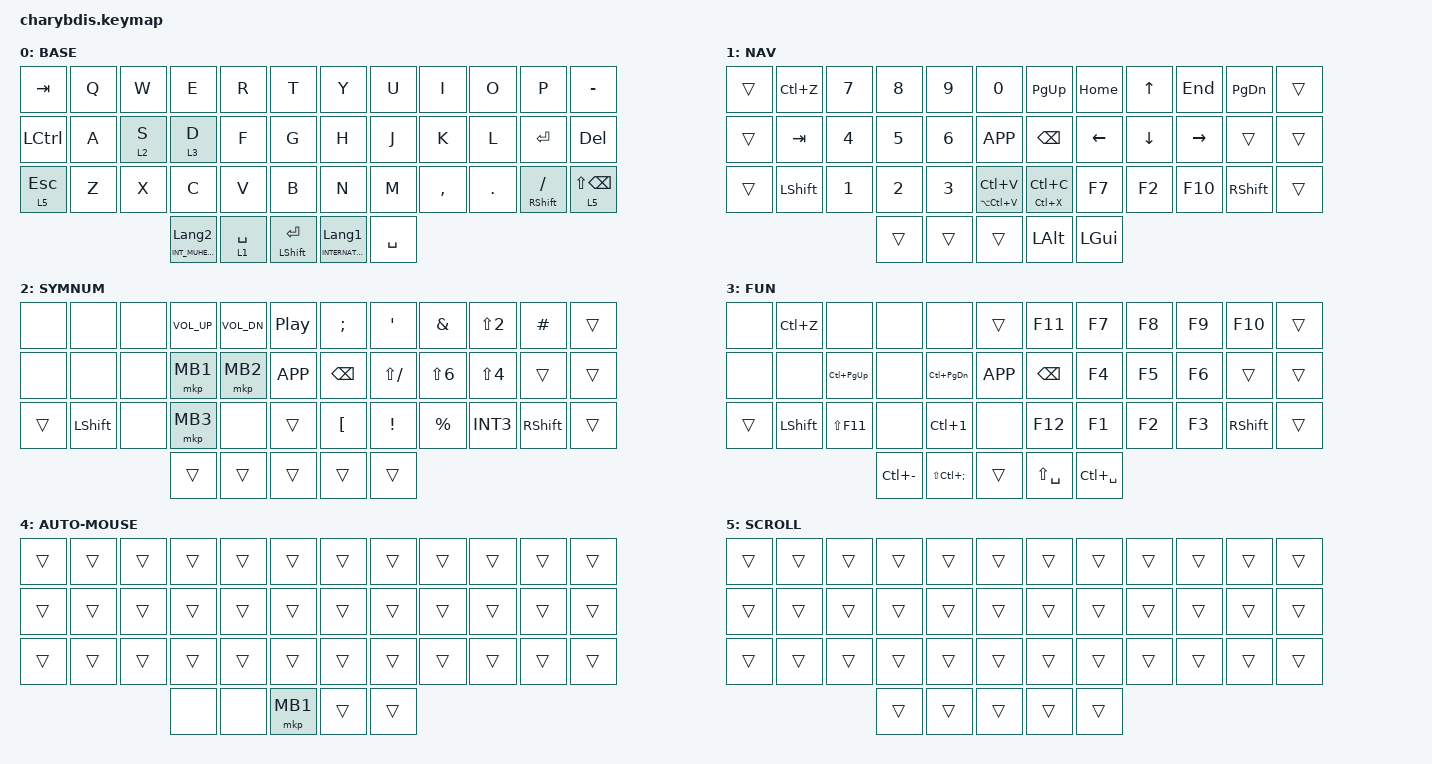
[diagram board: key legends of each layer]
#include <dt-bindings/zmk/mouse.h>
#include <input/processors.dtsi>
#include <dt-bindings/zmk/input_transform.h>
#include <behaviors.dtsi>
#include <dt-bindings/zmk/keys.h>
#include <dt-bindings/zmk/pointing.h>

#define U_TAPPING_TERM 200

/ {
    trackball_listener {
        compatible = "zmk,input-listener";
        device = <&trackball>;
        input-processors = <&zip_xy_scaler 1 2>, <&zip_temp_layer 4 10>;

        // Switch to auto-mouse temp layer, decrease sensitivity

        scroll {
            layers = <5>; // SCROLL
            input-processors =
                <&zip_xy_scaler 1 5>,
                <&zip_xy_to_scroll_mapper>,
                <&zip_scroll_transform (INPUT_TRANSFORM_Y_INVERT)>;
        };
    };

    combos {
        compatible = "zmk,combos";

        ParaLeft {
            bindings = <&kp LS(N8)>;
            key-positions = <16 14>;
        };

        ParaRight {
            bindings = <&kp LS(N9)>;
            key-positions = <19 21>;
        };

        BrakLeft {
            bindings = <&kp RBKT>;
            key-positions = <14 15 16>;
        };

        BrakRight {
            bindings = <&kp BSLH>;
            key-positions = <19 20 21>;
        };

        minus {
            bindings = <&kp MINUS>;
            key-positions = <19 20>;
        };

        underbar {
            bindings = <&kp LS(INT1)>;
            key-positions = <32 31>;
        };

        henkan {
            bindings = <&kp INTERNATIONAL_4>;
            key-positions = <38 39>;
        };

        space {
            bindings = <&kp LS(SPACE)>;
            key-positions = <37 40>;
        };

        lang2 {
            bindings = <&kp LANGUAGE_2>;
            key-positions = <40 19>;
        };

        lang1 {
            bindings = <&kp LANGUAGE_1>;
            key-positions = <40 31>;
        };

        plus {
            bindings = <&kp LS(SEMI)>;
            key-positions = <8 7>;
        };

        asta {
            bindings = <&kp LS(SQT)>;
            key-positions = <4 3>;
        };

        eq {
            bindings = <&kp LS(MINUS)>;
            key-positions = <4 3 2>;
        };

        q {
            bindings = <&kp LS(FSLH)>;
            key-positions = <20 21>;
        };

        leftctrl {
            bindings = <&kp LCTRL>;
            key-positions = <13 14>;
        };

        rightctrl {
            bindings = <&kp RCTRL>;
            key-positions = <21 22>;
        };

        leftclick {
            bindings = <&mkp MB1>;
            key-positions = <32 33>;
        };

        rightclick {
            bindings = <&mkp MB2>;
            key-positions = <33 34>;
        };

        leftshift {
            bindings = <&kp LSHFT>;
            key-positions = <25 26>;
        };
    };

    behaviors {
        u_mt: u_mt {
            compatible = "zmk,behavior-hold-tap";
            label = "u_mt";
            #binding-cells = <2>;
            tapping_term_ms = <U_TAPPING_TERM>;
            flavor = "tap-preferred";
            bindings = <&kp>, <&kp>;
        };

        u_lt: u_lt {
            compatible = "zmk,behavior-hold-tap";
            label = "u_lt";
            #binding-cells = <2>;
            tapping_term_ms = <U_TAPPING_TERM>;
            flavor = "tap-preferred";
            bindings = <&mo>, <&kp>;
        };

        Shift_Enter: Shift_Enter {
            compatible = "zmk,behavior-hold-tap";
            label = "SHIFT_ENTER";
            bindings = <&kp>, <&kp>;

            #binding-cells = <2>;
            hold-trigger-key-positions = <40>;
            tapping-term-ms = <100>;
        };
    };

    keymap {
        compatible = "zmk,keymap";

        BASE {
            bindings = <
&kp TAB       &kp Q  &kp W    &kp E                        &kp R        &kp T              &kp Y                           &kp U      &kp I      &kp O    &kp P            &kp MINUS
&kp LCTRL     &kp A  &lt 2 S  &lt 3 D                      &kp F        &kp G              &kp H                           &kp J      &kp K      &kp L    &kp ENTER        &kp DEL
&lt 5 ESCAPE  &kp Z  &kp X    &kp C                        &kp V        &kp B              &kp N                           &kp M      &kp COMMA  &kp DOT  &mt RSHIFT FSLH  &lt 5 LS(BACKSPACE)
                              &mt INT_MUHENKAN LANGUAGE_2  &lt 1 SPACE  &mt LSHFT ENTER    &mt INTERNATIONAL_4 LANGUAGE_1  &kp SPACE
            >;
        };

        NAV {
            bindings = <
&trans  &kp LC(Z)  &kp N7  &kp N8  &kp N9  &kp N0                 &kp PAGE_UP      &kp HOME        &kp UP_ARROW    &kp END          &kp PAGE_DOWN  &trans
&trans  &kp TAB    &kp N4  &kp N5  &kp N6  &kp K_APP              &kp BACKSPACE    &kp LEFT_ARROW  &kp DOWN_ARROW  &kp RIGHT_ARROW  &trans         &trans
&trans  &kp LSHFT  &kp N1  &kp N2  &kp N3  &mt LA(LC(V)) LC(V)    &mt LC(X) LC(C)  &kp F7          &kp F2          &kp F10          &kp RSHFT      &trans
                           &trans  &trans  &trans                 &kp LALT         &kp LGUI
            >;
        };

        SYMNUM {
            bindings = <
&none   &none      &none  &kp C_VOL_UP  &kp C_VOL_DN  &kp C_PP     &kp SEMI  &kp APOS      &kp AMPS    &kp LS(N2)  &kp HASH   &trans
&none   &none      &none  &mkp MB1      &mkp MB2      &kp K_APP    &kp BSPC  &kp LS(FSLH)  &kp LS(N6)  &kp LS(N4)  &trans     &trans
&trans  &kp LSHFT  &none  &mkp MB3      &none         &trans       &kp LBKT  &kp EXCL      &kp PRCNT   &kp INT3    &kp RSHFT  &trans
                          &trans        &trans        &trans       &trans    &trans
            >;
        };

        FUN {
            bindings = <
&none   &kp LC(Z)  &none          &none          &none              &trans       &kp F11        &kp F7         &kp F8  &kp F9  &kp F10    &trans
&none   &none      &kp LC(PG_UP)  &none          &kp LC(PAGE_DOWN)  &kp K_APP    &kp BSPC       &kp F4         &kp F5  &kp F6  &trans     &trans
&trans  &kp LSHFT  &kp LS(F11)    &none          &kp LC(N1)         &none        &kp F12        &kp F1         &kp F2  &kp F3  &kp RSHFT  &trans
                                  &kp LC(MINUS)  &kp LS(LC(SEMI))   &trans       &kp LS(SPACE)  &kp LC(SPACE)
            >;
        };

        AUTO-MOUSE {
            bindings = <
&trans  &trans  &trans  &trans  &trans  &trans      &trans  &trans  &trans  &trans  &trans  &trans
&trans  &trans  &trans  &trans  &trans  &trans      &trans  &trans  &trans  &trans  &trans  &trans
&trans  &trans  &trans  &trans  &trans  &trans      &trans  &trans  &trans  &trans  &trans  &trans
                        &none   &none   &mkp MB1    &trans  &trans
            >;
        };

        SCROLL {
            bindings = <
&trans  &trans  &trans  &trans  &trans  &trans    &trans  &trans  &trans  &trans  &trans  &trans
&trans  &trans  &trans  &trans  &trans  &trans    &trans  &trans  &trans  &trans  &trans  &trans
&trans  &trans  &trans  &trans  &trans  &trans    &trans  &trans  &trans  &trans  &trans  &trans
                        &trans  &trans  &trans    &trans  &trans
            >;
        };
    };
};
